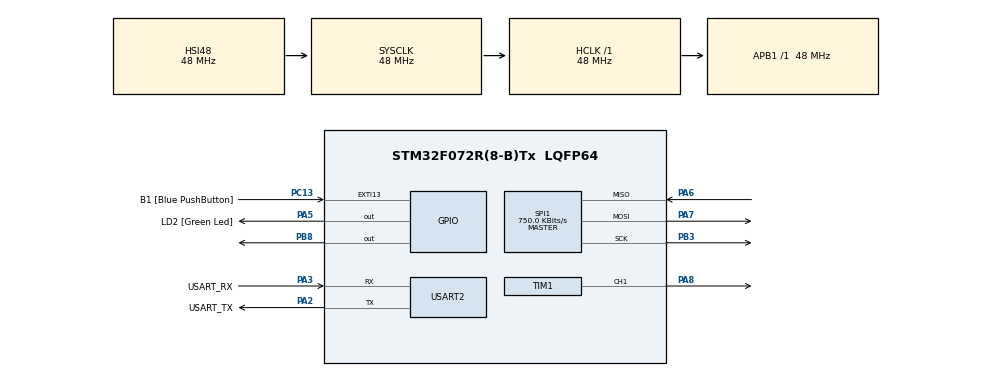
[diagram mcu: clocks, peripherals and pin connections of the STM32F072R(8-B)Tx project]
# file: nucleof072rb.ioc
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Mcu.Family=STM32F0
Mcu.Name=STM32F072R(8-B)Tx
Mcu.Package=LQFP64
PA13.GPIO_Label=TMS
PA13.Mode=Serial_Wire
PA13.Signal=SYS_SWDIO
PA14.GPIO_Label=TCK
PA14.Mode=Serial_Wire
PA14.Signal=SYS_SWCLK
PA2.GPIO_Label=USART_TX
PA2.GPIO_Mode=GPIO_MODE_AF_PP
PA2.GPIO_PuPd=GPIO_NOPULL
PA2.GPIO_Speed=GPIO_SPEED_FREQ_LOW
PA2.Mode=Asynchronous
PA2.Signal=USART2_TX
PA3.GPIO_Label=USART_RX
PA3.GPIO_Mode=GPIO_MODE_AF_PP
PA3.GPIO_PuPd=GPIO_NOPULL
PA3.GPIO_Speed=GPIO_SPEED_FREQ_LOW
PA3.Mode=Asynchronous
PA3.Signal=USART2_RX
PA5.GPIO_Label=LD2 [Green Led]
PA5.GPIO_Mode=GPIO_MODE_OUTPUT_PP
PA5.GPIO_PuPd=GPIO_NOPULL
PA5.GPIO_Speed=GPIO_SPEED_FREQ_LOW
PA5.Signal=GPIO_Output
PA6.Mode=Full_Duplex_Master
PA6.Signal=SPI1_MISO
PA7.Mode=Full_Duplex_Master
PA7.Signal=SPI1_MOSI
PA8.Signal=S_TIM1_CH1
PB3.Mode=Full_Duplex_Master
PB3.Signal=SPI1_SCK
PB8.PinState=GPIO_PIN_SET
PB8.Signal=GPIO_Output
PC13.GPIO_Label=B1 [Blue PushButton]
PC13.GPIO_ModeDefaultEXTI=GPIO_MODE_IT_FALLING
PC13.Signal=GPXTI13
PC14-OSC32_IN.Mode=LSE-External-Oscillator
PC14-OSC32_IN.Signal=RCC_OSC32_IN
PC15-OSC32_OUT.Mode=LSE-External-Oscillator
PC15-OSC32_OUT.Signal=RCC_OSC32_OUT
PF0-OSC_IN.Mode=HSE-External-Clock-Source
PF0-OSC_IN.Signal=RCC_OSC_IN
PF1-OSC_OUT.Signal=RCC_OSC_OUT
ProjectManager.HeapSize=0x200
ProjectManager.StackSize=0x400
ProjectManager.TargetToolchain=STM32CubeIDE
RCC.AHBFreq_Value=48000000
RCC.APB1Freq_Value=48000000
RCC.APB1TimFreq_Value=48000000
RCC.FLatency-AdvancedSettings=FLASH_LATENCY_1
RCC.HCLKFreq_Value=48000000
RCC.PLLDivider=RCC_PREDIV_DIV2
RCC.PLLMUL=RCC_PLL_MUL12
RCC.PREFETCH_ENABLE-AdvancedSettings=1
RCC.SYSCLKFreq_VALUE=48000000
RCC.SYSCLKSource=RCC_SYSCLKSOURCE_HSI48
SH.S_TIM1_CH1.0=TIM1_CH1,PWM Generation1 CH1
SPI1.BaudRatePrescaler=SPI_BAUDRATEPRESCALER_64
SPI1.CalculateBaudRate=750.0 KBits/s
SPI1.DataSize=SPI_DATASIZE_8BIT
SPI1.Direction=SPI_DIRECTION_2LINES
SPI1.Mode=SPI_MODE_MASTER
SPI1.VirtualType=VM_MASTER
TIM1.Channel-PWM\ Generation1\ CH1=TIM_CHANNEL_1
TIM1.Period=63999
TIM1.Prescaler=14
TIM1.Pulse-PWM\ Generation1\ CH1=4800
USART2.VirtualMode=VM_ASYNC
USART2.VirtualMode-Asynchronous=VM_ASYNC
board=NUCLEO-F072RB

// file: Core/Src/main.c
/* USER CODE BEGIN Header */
/**
  ******************************************************************************
  * @file           : main.c
  * @brief          : Main program body
  ******************************************************************************
  * @attention
  *
  * <h2><center>&copy; Copyright (c) 2021 STMicroelectronics.
  * All rights reserved.</center></h2>
  *
  * This software component is licensed by ST under BSD 3-Clause license,
  * the "License"; You may not use this file except in compliance with the
  * License. You may obtain a copy of the License at:
  *                        opensource.org/licenses/BSD-3-Clause
  *
  ******************************************************************************
  */
/* USER CODE END Header */
#include "main.h"
#include "spi.h"
#include "tim.h"
#include "usart.h"
#include "gpio.h"

void SystemClock_Config(void);

/* USER CODE BEGIN 0 */
uint16_t MCP3004_Read(uint8_t channel)
{
    if (channel > 3)
    {
        return 0;
    }

    uint8_t txData[3] = {0x01, 0x00, 0x00};
    uint8_t rxData[3] = {0};

    txData[1] = (0x08 | channel) << 4;

    HAL_GPIO_WritePin(GPIOB, GPIO_PIN_8, GPIO_PIN_RESET);

    HAL_StatusTypeDef status = HAL_SPI_TransmitReceive(
        &hspi1, txData, rxData, 3, 100
    );

    HAL_GPIO_WritePin(GPIOB, GPIO_PIN_8, GPIO_PIN_SET);

    if (status != HAL_OK)
    {
        return 0;
    }

    return ((rxData[1] & 0x03) << 8) | rxData[2];
}
/* USER CODE END 0 */

int main(void)
{

  /* MCU Configuration--------------------------------------------------------*/

  /* Reset of all peripherals, Initializes the Flash interface and the Systick. */
  HAL_Init();

  /* Configure the system clock */
  SystemClock_Config();

  /* Initialize all configured peripherals */
  MX_GPIO_Init();
  MX_USART2_UART_Init();
  MX_SPI1_Init();
  MX_TIM1_Init();
  /* USER CODE BEGIN 2 */

  HAL_TIM_PWM_Start(&htim1, TIM_CHANNEL_1);

  HAL_GPIO_WritePin(GPIOB, GPIO_PIN_8, GPIO_PIN_SET);

  /* USER CODE END 2 */

  /* Infinite loop */
  while (1)
  {

    /* USER CODE BEGIN 3 */
	  uint16_t adcValue = MCP3004_Read(0);

	  uint32_t pulseWidth = 3200 + ((uint32_t)adcValue * 3200) / 1023;

	  __HAL_TIM_SET_COMPARE(&htim1, TIM_CHANNEL_1, pulseWidth);

	  HAL_Delay(10);
  }
  /* USER CODE END 3 */
}

void SystemClock_Config(void)
{
  RCC_OscInitTypeDef RCC_OscInitStruct = {0};
  RCC_ClkInitTypeDef RCC_ClkInitStruct = {0};
  RCC_PeriphCLKInitTypeDef PeriphClkInit = {0};

  /** Initializes the RCC Oscillators according to the specified parameters
  * in the RCC_OscInitTypeDef structure.
  */
  RCC_OscInitStruct.OscillatorType = RCC_OSCILLATORTYPE_HSI48;
  RCC_OscInitStruct.HSI48State = RCC_HSI48_ON;
  RCC_OscInitStruct.PLL.PLLState = RCC_PLL_NONE;
  if (HAL_RCC_OscConfig(&RCC_OscInitStruct) != HAL_OK)
  {
    Error_Handler();
  }
  /** Initializes the CPU, AHB and APB buses clocks
  */
  RCC_ClkInitStruct.ClockType = RCC_CLOCKTYPE_HCLK|RCC_CLOCKTYPE_SYSCLK
                              |RCC_CLOCKTYPE_PCLK1;
  RCC_ClkInitStruct.SYSCLKSource = RCC_SYSCLKSOURCE_HSI48;
  RCC_ClkInitStruct.AHBCLKDivider = RCC_SYSCLK_DIV1;
  RCC_ClkInitStruct.APB1CLKDivider = RCC_HCLK_DIV1;

  if (HAL_RCC_ClockConfig(&RCC_ClkInitStruct, FLASH_LATENCY_1) != HAL_OK)
  {
    Error_Handler();
  }
  PeriphClkInit.PeriphClockSelection = RCC_PERIPHCLK_USART2;
  PeriphClkInit.Usart2ClockSelection = RCC_USART2CLKSOURCE_PCLK1;
  if (HAL_RCCEx_PeriphCLKConfig(&PeriphClkInit) != HAL_OK)
  {
    Error_Handler();
  }
}

void Error_Handler(void)
{
  __disable_irq();
  while (1)
  {
  }
}

/************************ (C) COPYRIGHT STMicroelectronics *****END OF FILE****/
